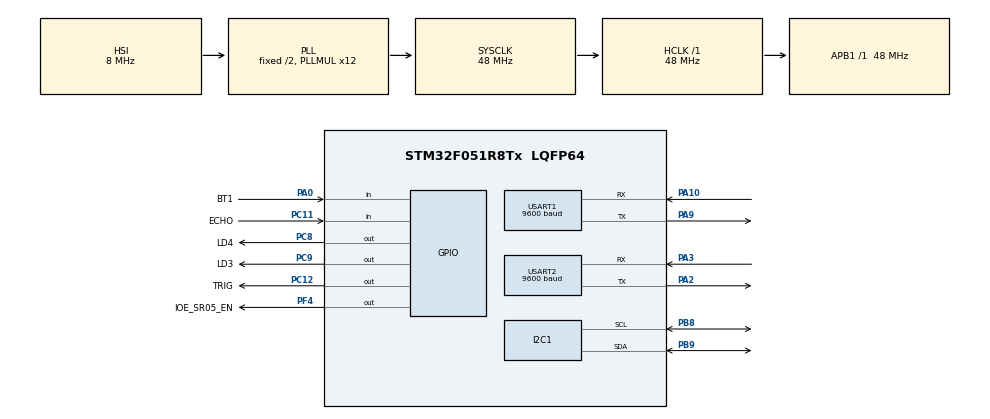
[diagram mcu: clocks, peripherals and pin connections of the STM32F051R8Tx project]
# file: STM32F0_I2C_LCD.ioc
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Mcu.Family=STM32F0
Mcu.Name=STM32F051R8Tx
Mcu.Package=LQFP64
NVIC.USART1_IRQn=true\:0\:0\:false\:false\:true\:true\:true
NVIC.USART2_IRQn=true\:0\:0\:false\:false\:true\:true\:true
PA0.GPIO_Label=BT1
PA0.Signal=GPIO_Input
PA10.Mode=Asynchronous
PA10.Signal=USART1_RX
PA13.Mode=Serial_Wire
PA13.Signal=SYS_SWDIO
PA14.Mode=Serial_Wire
PA14.Signal=SYS_SWCLK
PA2.Mode=Asynchronous
PA2.Signal=USART2_TX
PA3.Mode=Asynchronous
PA3.Signal=USART2_RX
PA9.Mode=Asynchronous
PA9.Signal=USART1_TX
PB8.Mode=I2C
PB8.Signal=I2C1_SCL
PB9.Mode=I2C
PB9.Signal=I2C1_SDA
PC11.GPIO_Label=ECHO
PC11.Signal=GPIO_Input
PC12.GPIO_Label=TRIG
PC12.GPIO_PuPd=GPIO_PULLDOWN
PC12.Signal=GPIO_Output
PC8.GPIO_Label=LD4
PC8.Signal=GPIO_Output
PC9.GPIO_Label=LD3
PC9.Signal=GPIO_Output
PF4.GPIO_Label=IOE_SR05_EN
PF4.GPIO_PuPd=GPIO_PULLUP
PF4.PinState=GPIO_PIN_SET
PF4.Signal=GPIO_Output
ProjectManager.HeapSize=0x200
ProjectManager.StackSize=0x400
ProjectManager.TargetToolchain=STM32CubeIDE
RCC.AHBFreq_Value=48000000
RCC.APB1Freq_Value=48000000
RCC.APB1TimFreq_Value=48000000
RCC.HCLKFreq_Value=48000000
RCC.PLLMUL=RCC_PLL_MUL12
RCC.SYSCLKFreq_VALUE=48000000
RCC.SYSCLKSource=RCC_SYSCLKSOURCE_PLLCLK
TIM16.Period=65535
TIM16.Prescaler=47
TIM17.Period=65535
TIM17.Prescaler=47
USART1.BaudRate=9600
USART1.VirtualMode-Asynchronous=VM_ASYNC
USART2.BaudRate=9600
USART2.VirtualMode-Asynchronous=VM_ASYNC
VP_TIM16_VS_ClockSourceINT.Mode=Enable_Timer
VP_TIM17_VS_ClockSourceINT.Mode=Enable_Timer
board=custom

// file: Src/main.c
/* USER CODE BEGIN Header */
/**
  ******************************************************************************
  * @file           : main.c
  * @brief          : Main program body
  ******************************************************************************
  * @attention
  *
  * <h2><center>&copy; Copyright (c) 2020 STMicroelectronics.
  * All rights reserved.</center></h2>
  *
  * This software component is licensed by ST under BSD 3-Clause license,
  * the "License"; You may not use this file except in compliance with the
  * License. You may obtain a copy of the License at:
  *                        opensource.org/licenses/BSD-3-Clause
  *
  ******************************************************************************
  */
/* USER CODE END Header */

#include "main.h"

I2C_HandleTypeDef hi2c1;

TIM_HandleTypeDef htim16;
TIM_HandleTypeDef htim17;

UART_HandleTypeDef huart1;
UART_HandleTypeDef huart2;

/* USER CODE BEGIN PV */
uint8_t lcdBuff[16] = {0};
uint8_t chr;
uint8_t startFrame = 0;
uint8_t count = 0;
uint8_t IOE_SR05_Buff[4] = {0};
/* USER CODE END PV */

void SystemClock_Config(void);
static void MX_GPIO_Init(void);
static void MX_USART1_UART_Init(void);
static void MX_I2C1_Init(void);
static void MX_TIM17_Init(void);
static void MX_TIM16_Init(void);
static void MX_USART2_UART_Init(void);

int main(void)
{

  /* MCU Configuration--------------------------------------------------------*/

  /* Reset of all peripherals, Initializes the Flash interface and the Systick. */
  HAL_Init();

  /* Configure the system clock */
  SystemClock_Config();

  /* Initialize all configured peripherals */
  MX_GPIO_Init();
  MX_USART1_UART_Init();
  MX_I2C1_Init();
  MX_TIM17_Init();
  MX_TIM16_Init();
  MX_USART2_UART_Init();
  /* USER CODE BEGIN 2 */
  PrintDebug("Start Application\r\n");
  HAL_UART_Receive_IT(&huart2,&chr,1);
  	I2cLcd_Init();
  	I2cLcd_Backlight();
  	I2cLcd_Clear();
#if(USE_IOE_SR05 == 1)
  	I2cLcd_SetCursor(0,0);
  	I2cLcd_Puts((uint8_t*)"IOE-SR05 DEMO");
#else
  	I2cLcd_SetCursor(0,0);
  	I2cLcd_Puts("SR04-SRF05-US015");
#endif
  /* USER CODE END 2 */

  /* Infinite loop */
  /* USER CODE BEGIN WHILE */
  while (1)
  {
#if(USE_IOE_SR05 == 1)
	  float range = IOE_SR05_GetRange();
	  sprintf((char*)lcdBuff,"Range = %.1f  ",range);
#else
	  float range = Start_GetRange();
	  sprintf((char*)lcdBuff,"Range = %.2f  ",range);
#endif
	  I2cLcd_SetCursor(0,1);
	  I2cLcd_Puts(lcdBuff);
	  HAL_Delay(500);
    /* USER CODE END WHILE */

  }
}

void SystemClock_Config(void)
{
  RCC_OscInitTypeDef RCC_OscInitStruct = {0};
  RCC_ClkInitTypeDef RCC_ClkInitStruct = {0};
  RCC_PeriphCLKInitTypeDef PeriphClkInit = {0};

  /** Initializes the CPU, AHB and APB busses clocks
  */
  RCC_OscInitStruct.OscillatorType = RCC_OSCILLATORTYPE_HSI;
  RCC_OscInitStruct.HSIState = RCC_HSI_ON;
  RCC_OscInitStruct.HSICalibrationValue = RCC_HSICALIBRATION_DEFAULT;
  RCC_OscInitStruct.PLL.PLLState = RCC_PLL_ON;
  RCC_OscInitStruct.PLL.PLLSource = RCC_PLLSOURCE_HSI;
  RCC_OscInitStruct.PLL.PLLMUL = RCC_PLL_MUL12;
  RCC_OscInitStruct.PLL.PREDIV = RCC_PREDIV_DIV1;
  if (HAL_RCC_OscConfig(&RCC_OscInitStruct) != HAL_OK)
  {
    Error_Handler();
  }
  /** Initializes the CPU, AHB and APB busses clocks
  */
  RCC_ClkInitStruct.ClockType = RCC_CLOCKTYPE_HCLK|RCC_CLOCKTYPE_SYSCLK
                              |RCC_CLOCKTYPE_PCLK1;
  RCC_ClkInitStruct.SYSCLKSource = RCC_SYSCLKSOURCE_PLLCLK;
  RCC_ClkInitStruct.AHBCLKDivider = RCC_SYSCLK_DIV1;
  RCC_ClkInitStruct.APB1CLKDivider = RCC_HCLK_DIV1;

  if (HAL_RCC_ClockConfig(&RCC_ClkInitStruct, FLASH_LATENCY_1) != HAL_OK)
  {
    Error_Handler();
  }
  PeriphClkInit.PeriphClockSelection = RCC_PERIPHCLK_USART1|RCC_PERIPHCLK_I2C1;
  PeriphClkInit.Usart1ClockSelection = RCC_USART1CLKSOURCE_PCLK1;
  PeriphClkInit.I2c1ClockSelection = RCC_I2C1CLKSOURCE_HSI;
  if (HAL_RCCEx_PeriphCLKConfig(&PeriphClkInit) != HAL_OK)
  {
    Error_Handler();
  }
}

static void MX_I2C1_Init(void)
{

  hi2c1.Instance = I2C1;
  hi2c1.Init.Timing = 0x2000090E;
  hi2c1.Init.OwnAddress1 = 0;
  hi2c1.Init.AddressingMode = I2C_ADDRESSINGMODE_7BIT;
  hi2c1.Init.DualAddressMode = I2C_DUALADDRESS_DISABLE;
  hi2c1.Init.OwnAddress2 = 0;
  hi2c1.Init.OwnAddress2Masks = I2C_OA2_NOMASK;
  hi2c1.Init.GeneralCallMode = I2C_GENERALCALL_DISABLE;
  hi2c1.Init.NoStretchMode = I2C_NOSTRETCH_DISABLE;
  if (HAL_I2C_Init(&hi2c1) != HAL_OK)
  {
    Error_Handler();
  }
  /** Configure Analogue filter
  */
  if (HAL_I2CEx_ConfigAnalogFilter(&hi2c1, I2C_ANALOGFILTER_ENABLE) != HAL_OK)
  {
    Error_Handler();
  }
  /** Configure Digital filter
  */
  if (HAL_I2CEx_ConfigDigitalFilter(&hi2c1, 0) != HAL_OK)
  {
    Error_Handler();
  }

}

static void MX_TIM16_Init(void)
{

  htim16.Instance = TIM16;
  htim16.Init.Prescaler = 47;
  htim16.Init.CounterMode = TIM_COUNTERMODE_UP;
  htim16.Init.Period = 65535;
  htim16.Init.ClockDivision = TIM_CLOCKDIVISION_DIV1;
  htim16.Init.RepetitionCounter = 0;
  htim16.Init.AutoReloadPreload = TIM_AUTORELOAD_PRELOAD_DISABLE;
  if (HAL_TIM_Base_Init(&htim16) != HAL_OK)
  {
    Error_Handler();
  }

}

static void MX_TIM17_Init(void)
{

  htim17.Instance = TIM17;
  htim17.Init.Prescaler = 47;
  htim17.Init.CounterMode = TIM_COUNTERMODE_UP;
  htim17.Init.Period = 65535;
  htim17.Init.ClockDivision = TIM_CLOCKDIVISION_DIV1;
  htim17.Init.RepetitionCounter = 0;
  htim17.Init.AutoReloadPreload = TIM_AUTORELOAD_PRELOAD_DISABLE;
  if (HAL_TIM_Base_Init(&htim17) != HAL_OK)
  {
    Error_Handler();
  }

}

static void MX_USART1_UART_Init(void)
{

  huart1.Instance = USART1;
  huart1.Init.BaudRate = 9600;
  huart1.Init.WordLength = UART_WORDLENGTH_8B;
  huart1.Init.StopBits = UART_STOPBITS_1;
  huart1.Init.Parity = UART_PARITY_NONE;
  huart1.Init.Mode = UART_MODE_TX_RX;
  huart1.Init.HwFlowCtl = UART_HWCONTROL_NONE;
  huart1.Init.OverSampling = UART_OVERSAMPLING_16;
  huart1.Init.OneBitSampling = UART_ONE_BIT_SAMPLE_DISABLE;
  huart1.AdvancedInit.AdvFeatureInit = UART_ADVFEATURE_NO_INIT;
  if (HAL_UART_Init(&huart1) != HAL_OK)
  {
    Error_Handler();
  }

}

static void MX_USART2_UART_Init(void)
{

  huart2.Instance = USART2;
  huart2.Init.BaudRate = 9600;
  huart2.Init.WordLength = UART_WORDLENGTH_8B;
  huart2.Init.StopBits = UART_STOPBITS_1;
  huart2.Init.Parity = UART_PARITY_NONE;
  huart2.Init.Mode = UART_MODE_TX_RX;
  huart2.Init.HwFlowCtl = UART_HWCONTROL_NONE;
  huart2.Init.OverSampling = UART_OVERSAMPLING_16;
  huart2.Init.OneBitSampling = UART_ONE_BIT_SAMPLE_DISABLE;
  huart2.AdvancedInit.AdvFeatureInit = UART_ADVFEATURE_NO_INIT;
  if (HAL_UART_Init(&huart2) != HAL_OK)
  {
    Error_Handler();
  }

}

static void MX_GPIO_Init(void)
{
  GPIO_InitTypeDef GPIO_InitStruct = {0};

  /* GPIO Ports Clock Enable */
  __HAL_RCC_GPIOA_CLK_ENABLE();
  __HAL_RCC_GPIOF_CLK_ENABLE();
  __HAL_RCC_GPIOC_CLK_ENABLE();
  __HAL_RCC_GPIOB_CLK_ENABLE();

  /*Configure GPIO pin Output Level */
  HAL_GPIO_WritePin(IOE_SR05_EN_GPIO_Port, IOE_SR05_EN_Pin, GPIO_PIN_SET);

  /*Configure GPIO pin Output Level */
  HAL_GPIO_WritePin(GPIOC, LD4_Pin|LD3_Pin|TRIG_Pin, GPIO_PIN_RESET);

  /*Configure GPIO pin : BT1_Pin */
  GPIO_InitStruct.Pin = BT1_Pin;
  GPIO_InitStruct.Mode = GPIO_MODE_INPUT;
  GPIO_InitStruct.Pull = GPIO_NOPULL;
  HAL_GPIO_Init(BT1_GPIO_Port, &GPIO_InitStruct);

  /*Configure GPIO pin : IOE_SR05_EN_Pin */
  GPIO_InitStruct.Pin = IOE_SR05_EN_Pin;
  GPIO_InitStruct.Mode = GPIO_MODE_OUTPUT_PP;
  GPIO_InitStruct.Pull = GPIO_PULLUP;
  GPIO_InitStruct.Speed = GPIO_SPEED_FREQ_LOW;
  HAL_GPIO_Init(IOE_SR05_EN_GPIO_Port, &GPIO_InitStruct);

  /*Configure GPIO pins : LD4_Pin LD3_Pin */
  GPIO_InitStruct.Pin = LD4_Pin|LD3_Pin;
  GPIO_InitStruct.Mode = GPIO_MODE_OUTPUT_PP;
  GPIO_InitStruct.Pull = GPIO_NOPULL;
  GPIO_InitStruct.Speed = GPIO_SPEED_FREQ_LOW;
  HAL_GPIO_Init(GPIOC, &GPIO_InitStruct);

  /*Configure GPIO pin : ECHO_Pin */
  GPIO_InitStruct.Pin = ECHO_Pin;
  GPIO_InitStruct.Mode = GPIO_MODE_INPUT;
  GPIO_InitStruct.Pull = GPIO_NOPULL;
  HAL_GPIO_Init(ECHO_GPIO_Port, &GPIO_InitStruct);

  /*Configure GPIO pin : TRIG_Pin */
  GPIO_InitStruct.Pin = TRIG_Pin;
  GPIO_InitStruct.Mode = GPIO_MODE_OUTPUT_PP;
  GPIO_InitStruct.Pull = GPIO_PULLDOWN;
  GPIO_InitStruct.Speed = GPIO_SPEED_FREQ_LOW;
  HAL_GPIO_Init(TRIG_GPIO_Port, &GPIO_InitStruct);

}

/* USER CODE BEGIN 4 */
void delay_us(uint16_t us)
{
	__HAL_TIM_SET_COUNTER(&htim17,0);
	HAL_TIM_Base_Start(&htim17);
	while(__HAL_TIM_GET_COUNTER(&htim17) < us);
	HAL_TIM_Base_Stop(&htim17);
}

float Start_GetRange(void)
{
	uint16_t timeUs = 0;
	float distance = 0;

	/* Reset Timer 16 */
	__HAL_TIM_SET_COUNTER(&htim16,0);
	/* Trigger sensor */
	TRIG_L();
	TRIG_H();
	delay_us(10);
	TRIG_L();
	/* Wait ECHO pin go to high level then start timer */
	while(HAL_GPIO_ReadPin(ECHO_GPIO_Port,ECHO_Pin) == GPIO_PIN_RESET);
	HAL_TIM_Base_Start(&htim16);
	/* Wait ECHO pin back to low level */
	while(HAL_GPIO_ReadPin(ECHO_GPIO_Port,ECHO_Pin) == GPIO_PIN_SET);
	/* Stop timer and caculate distance */
	HAL_TIM_Base_Stop(&htim16);
	timeUs = __HAL_TIM_GET_COUNTER(&htim16);
	distance = (float)timeUs/59;

	return distance;
}

float IOE_SR05_GetRange(void)
{
	uint8_t checkSum;
	uint16_t Range = 0;

	/* Enable module IOE SR05 */
	startFrame = 0;
	count = 0;
	IOE_SR05_L();
	/* Wait receive data */
	while(count < 4);
	IOE_SR05_H();
	checkSum = (uint8_t)(IOE_SR05_Buff[0] + IOE_SR05_Buff[1] + IOE_SR05_Buff[2]);
	if(checkSum == IOE_SR05_Buff[3])
	{
		Range = (IOE_SR05_Buff[1] << 8) | IOE_SR05_Buff[2];
		return (float)Range/10;
	}

	return 0;
}

void HAL_UART_RxCpltCallback(UART_HandleTypeDef *huart)
{
  if(huart->Instance == USART2)
  {
	  if(startFrame == 0)
	  {
		  if(chr == 0xFF)
		  {
			  IOE_SR05_Buff[count++] = chr;
			  startFrame = 1;
		  }
	  } else if(startFrame == 1)
	  {
		  if(count < 4)
		  {
			  IOE_SR05_Buff[count++] = chr;
		  }
	  }
	  HAL_UART_Receive_IT(&huart2,&chr,1);
  }
}
/* USER CODE END 4 */

void Error_Handler(void)
{
}

/************************ (C) COPYRIGHT STMicroelectronics *****END OF FILE****/
